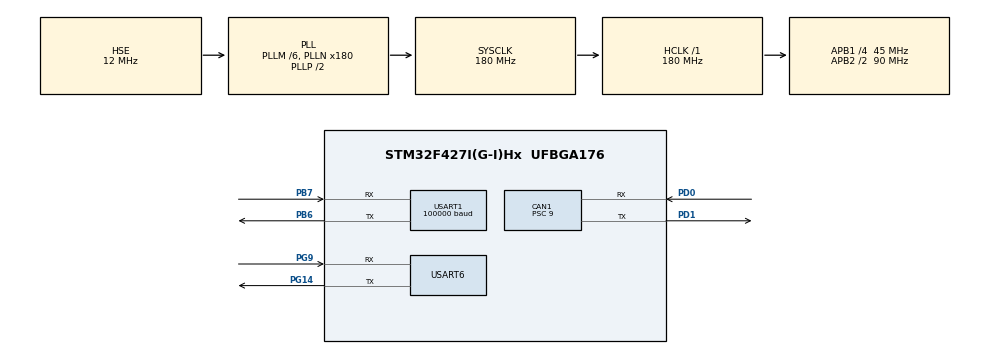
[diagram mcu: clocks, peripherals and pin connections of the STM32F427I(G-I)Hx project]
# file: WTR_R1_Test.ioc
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CAN1.BS1=CAN_BS1_3TQ
CAN1.CalculateBaudRate=1000000
CAN1.CalculateTimeBit=1000
CAN1.CalculateTimeQuantum=200.0
CAN1.Prescaler=9
Dma.Request0=USART1_RX
Dma.USART1_RX.0.Direction=DMA_PERIPH_TO_MEMORY
Dma.USART1_RX.0.FIFOMode=DMA_FIFOMODE_DISABLE
Dma.USART1_RX.0.Instance=DMA2_Stream2
Dma.USART1_RX.0.MemDataAlignment=DMA_MDATAALIGN_BYTE
Dma.USART1_RX.0.MemInc=DMA_MINC_ENABLE
Dma.USART1_RX.0.Mode=DMA_CIRCULAR
Dma.USART1_RX.0.PeriphDataAlignment=DMA_PDATAALIGN_BYTE
Dma.USART1_RX.0.PeriphInc=DMA_PINC_DISABLE
Dma.USART1_RX.0.Priority=DMA_PRIORITY_LOW
FREERTOS.Tasks01=defaultTask,24,128,StartDefaultTask,Default,NULL,Dynamic,NULL,NULL;AS69,8,128,AS69_Task,Default,NULL,Dynamic,NULL,NULL;Chassis,8,128,Chassis_Task,Default,NULL,Dynamic,NULL,NULL
Mcu.Family=STM32F4
Mcu.Name=STM32F427I(G-I)Hx
Mcu.Package=UFBGA176
NVIC.CAN1_RX0_IRQn=true\:5\:0\:false\:false\:true\:true\:true\:true\:true
NVIC.DMA2_Stream2_IRQn=true\:5\:0\:false\:false\:true\:true\:false\:true\:true
NVIC.PriorityGroup=NVIC_PRIORITYGROUP_4
NVIC.TIM1_UP_TIM10_IRQn=true\:15\:0\:false\:false\:true\:false\:false\:true\:true
NVIC.TimeBase=TIM1_UP_TIM10_IRQn
NVIC.TimeBaseIP=TIM1
PA13.Mode=Serial_Wire
PA13.Signal=SYS_JTMS-SWDIO
PA14.Mode=Serial_Wire
PA14.Signal=SYS_JTCK-SWCLK
PB6.Mode=Asynchronous
PB6.Signal=USART1_TX
PB7.Mode=Asynchronous
PB7.Signal=USART1_RX
PD0.Mode=CAN_Activate
PD0.Signal=CAN1_RX
PD1.Mode=CAN_Activate
PD1.Signal=CAN1_TX
PG14.Mode=Asynchronous
PG14.Signal=USART6_TX
PG9.Mode=Asynchronous
PG9.Signal=USART6_RX
PH0/OSC_IN.Mode=HSE-External-Oscillator
PH0/OSC_IN.Signal=RCC_OSC_IN
PH1/OSC_OUT.Mode=HSE-External-Oscillator
PH1/OSC_OUT.Signal=RCC_OSC_OUT
ProjectManager.HeapSize=0x200
ProjectManager.StackSize=0x400
ProjectManager.TargetToolchain=Makefile
RCC.48MHZClocksFreq_Value=90000000
RCC.AHBFreq_Value=180000000
RCC.APB1CLKDivider=RCC_HCLK_DIV4
RCC.APB1Freq_Value=45000000
RCC.APB1TimFreq_Value=90000000
RCC.APB2CLKDivider=RCC_HCLK_DIV2
RCC.APB2Freq_Value=90000000
RCC.APB2TimFreq_Value=180000000
RCC.CortexFreq_Value=180000000
RCC.HCLKFreq_Value=180000000
RCC.HSE_VALUE=12000000
RCC.HSI_VALUE=16000000
RCC.LSE_VALUE=32768
RCC.PLLM=6
RCC.PLLN=180
RCC.PLLSourceVirtual=RCC_PLLSOURCE_HSE
RCC.SYSCLKFreq_VALUE=180000000
RCC.SYSCLKSource=RCC_SYSCLKSOURCE_PLLCLK
RCC.VCOOutputFreq_Value=360000000
USART1.BaudRate=100000
USART1.Parity=PARITY_NONE
USART1.VirtualMode=VM_ASYNC
USART6.VirtualMode=VM_ASYNC
VP_FREERTOS_VS_CMSIS_V2.Mode=CMSIS_V2
VP_SYS_VS_tim1.Mode=TIM1
board=custom

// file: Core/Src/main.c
/* USER CODE BEGIN Header */
/**
 ******************************************************************************
 * @file           : main.c
 * @brief          : Main program body
 ******************************************************************************
 * @attention
 *
 * Copyright (c) 2023 STMicroelectronics.
 * All rights reserved.
 *
 * This software is licensed under terms that can be found in the LICENSE file
 * in the root directory of this software component.
 * If no LICENSE file comes with this software, it is provided AS-IS.
 *
 ******************************************************************************
 */
/* USER CODE END Header */
#include "main.h"
#include "cmsis_os.h"
#include "can.h"
#include "dma.h"
#include "usart.h"
#include "gpio.h"

/* USER CODE BEGIN Includes */
#include "thread.h"
/* USER CODE END Includes */

void SystemClock_Config(void);
void MX_FREERTOS_Init(void);

int main(void)
{

    /* MCU Configuration--------------------------------------------------------*/

    /* Reset of all peripherals, Initializes the Flash interface and the Systick. */
    HAL_Init();

    /* Configure the system clock */
    SystemClock_Config();

    /* Initialize all configured peripherals */
    MX_GPIO_Init();
    MX_DMA_Init();
    MX_CAN1_Init();
    MX_USART6_UART_Init();
    MX_USART1_UART_Init();
    /* USER CODE BEGIN 2 */
    Init_Thread();
    /* USER CODE END 2 */

    /* Init scheduler */
    osKernelInitialize(); /* Call init function for freertos objects (in freertos.c) */
    MX_FREERTOS_Init();

    /* Start scheduler */
    osKernelStart();

    /* We should never get here as control is now taken by the scheduler */
    /* Infinite loop */
    while (1) {

    }
}

void SystemClock_Config(void)
{
    RCC_OscInitTypeDef RCC_OscInitStruct = {0};
    RCC_ClkInitTypeDef RCC_ClkInitStruct = {0};

    /** Configure the main internal regulator output voltage
     */
    __HAL_RCC_PWR_CLK_ENABLE();
    __HAL_PWR_VOLTAGESCALING_CONFIG(PWR_REGULATOR_VOLTAGE_SCALE1);

    /** Initializes the RCC Oscillators according to the specified parameters
     * in the RCC_OscInitTypeDef structure.
     */
    RCC_OscInitStruct.OscillatorType = RCC_OSCILLATORTYPE_HSE;
    RCC_OscInitStruct.HSEState       = RCC_HSE_ON;
    RCC_OscInitStruct.PLL.PLLState   = RCC_PLL_ON;
    RCC_OscInitStruct.PLL.PLLSource  = RCC_PLLSOURCE_HSE;
    RCC_OscInitStruct.PLL.PLLM       = 6;
    RCC_OscInitStruct.PLL.PLLN       = 180;
    RCC_OscInitStruct.PLL.PLLP       = RCC_PLLP_DIV2;
    RCC_OscInitStruct.PLL.PLLQ       = 4;
    if (HAL_RCC_OscConfig(&RCC_OscInitStruct) != HAL_OK) {
        Error_Handler();
    }

    /** Activate the Over-Drive mode
     */
    if (HAL_PWREx_EnableOverDrive() != HAL_OK) {
        Error_Handler();
    }

    /** Initializes the CPU, AHB and APB buses clocks
     */
    RCC_ClkInitStruct.ClockType      = RCC_CLOCKTYPE_HCLK | RCC_CLOCKTYPE_SYSCLK | RCC_CLOCKTYPE_PCLK1 | RCC_CLOCKTYPE_PCLK2;
    RCC_ClkInitStruct.SYSCLKSource   = RCC_SYSCLKSOURCE_PLLCLK;
    RCC_ClkInitStruct.AHBCLKDivider  = RCC_SYSCLK_DIV1;
    RCC_ClkInitStruct.APB1CLKDivider = RCC_HCLK_DIV4;
    RCC_ClkInitStruct.APB2CLKDivider = RCC_HCLK_DIV2;

    if (HAL_RCC_ClockConfig(&RCC_ClkInitStruct, FLASH_LATENCY_5) != HAL_OK) {
        Error_Handler();
    }
}

void HAL_TIM_PeriodElapsedCallback(TIM_HandleTypeDef *htim)
{
    if (htim->Instance == TIM1) {
        HAL_IncTick();
    }
}

void Error_Handler(void)
{
    __disable_irq();
    while (1) {
    }
}

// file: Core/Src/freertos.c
/* USER CODE BEGIN Header */
/**
 ******************************************************************************
 * File Name          : freertos.c
 * Description        : Code for freertos applications
 ******************************************************************************
 * @attention
 *
 * Copyright (c) 2023 STMicroelectronics.
 * All rights reserved.
 *
 * This software is licensed under terms that can be found in the LICENSE file
 * in the root directory of this software component.
 * If no LICENSE file comes with this software, it is provided AS-IS.
 *
 ******************************************************************************
 */
/* USER CODE END Header */

#include "FreeRTOS.h"
#include "task.h"
#include "main.h"
#include "cmsis_os.h"

/* USER CODE BEGIN Includes */
#include "wtr_can.h"
#include "Caculate.h"
#include "chassis.h"
#include "DJI.h"
#include "as69.h"
#include "thread.h"
#include <stdio.h>
/* USER CODE END Includes */

/* USER CODE BEGIN Variables */
extern Remote_t raw_data;
extern uint8_t as69_buffer[18];
/* USER CODE END Variables */
/* Definitions for defaultTask */
osThreadId_t defaultTaskHandle;
const osThreadAttr_t defaultTask_attributes = {
    .name       = "defaultTask",
    .stack_size = 128 * 4,
    .priority   = (osPriority_t)osPriorityNormal,
};
/* Definitions for AS69 */
osThreadId_t AS69Handle;
const osThreadAttr_t AS69_attributes = {
    .name       = "AS69",
    .stack_size = 128 * 4,
    .priority   = (osPriority_t)osPriorityLow,
};
/* Definitions for Chassis */
osThreadId_t ChassisHandle;
const osThreadAttr_t Chassis_attributes = {
    .name       = "Chassis",
    .stack_size = 128 * 4,
    .priority   = (osPriority_t)osPriorityLow,
};

void StartDefaultTask(void *argument);
void AS69_Task(void *argument);
void Chassis_Task(void *argument);

void MX_FREERTOS_Init(void); /* (MISRA C 2004 rule 8.1) */

void MX_FREERTOS_Init(void)
{

    /* Create the thread(s) */
    /* creation of defaultTask */
    defaultTaskHandle = osThreadNew(StartDefaultTask, NULL, &defaultTask_attributes);

    /* creation of AS69 */
    AS69Handle = osThreadNew(AS69_Task, NULL, &AS69_attributes);

    /* creation of Chassis */
    ChassisHandle = osThreadNew(Chassis_Task, NULL, &Chassis_attributes);

}

void StartDefaultTask(void *argument)
{
    /* USER CODE BEGIN StartDefaultTask */
    /* Infinite loop */
    for (;;) {
        speedServo(0, &hDJI[4]);
        speedServo(0, &hDJI[5]);
        speedServo(-200, &hDJI[6]);
        speedServo(200, &hDJI[7]);
        // CanTransmit_DJI_5678(&hcan1, hDJI[4].speedPID.output, hDJI[5].speedPID.output, hDJI[6].speedPID.output, hDJI[7].speedPID.output);
        osDelay(10);
    }
    /* USER CODE END StartDefaultTask */
}

void AS69_Task(void *argument)
{
    /* USER CODE BEGIN AS69_Task */
    AS69_Init_Thread();
    /* Infinite loop */
    for (;;) {
        osDelay(10);
    }
    /* USER CODE END AS69_Task */
}

void Chassis_Task(void *argument)
{
    /* USER CODE BEGIN Chassis_Task */

    /* Infinite loop */
    for (;;) {
        Chassis_Control_Thread();
    }
    /* USER CODE END Chassis_Task */
}
